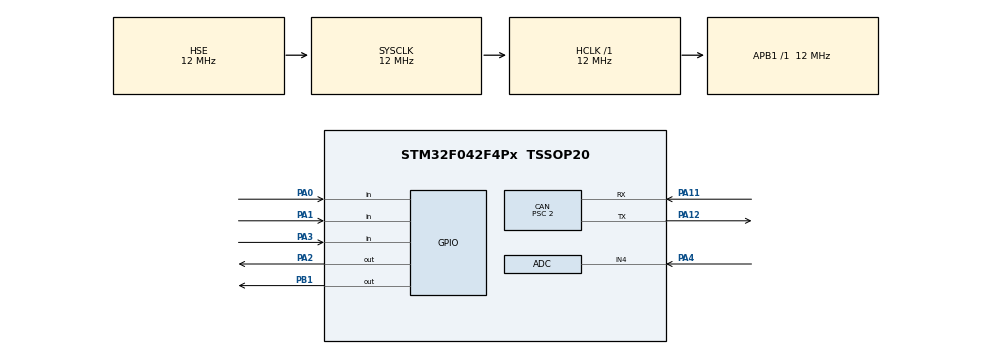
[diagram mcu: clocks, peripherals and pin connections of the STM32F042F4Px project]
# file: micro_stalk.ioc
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CAN.BS1=CAN_BS1_10TQ
CAN.CalculateBaudRate=500000
CAN.CalculateTimeBit=2000
CAN.CalculateTimeQuantum=166.66666666666666
CAN.NART=ENABLE
CAN.Prescaler=2
Mcu.Family=STM32F0
Mcu.Name=STM32F042F4Px
Mcu.Package=TSSOP20
NVIC.CEC_CAN_IRQn=true\:0\:0\:false\:false\:true\:true\:true\:true
PA0.Signal=GPIO_Input
PA1.Signal=GPIO_Input
PA11.Mode=CAN_Activate
PA11.Signal=CAN_RX
PA12.Mode=CAN_Activate
PA12.Signal=CAN_TX
PA13.Mode=Serial_Wire
PA13.Signal=SYS_SWDIO
PA14.Mode=Serial_Wire
PA14.Signal=SYS_SWCLK
PA2.Signal=GPIO_Output
PA3.Signal=GPIO_Input
PA4.Mode=IN4
PA4.Signal=ADC_IN4
PB1.Signal=GPIO_Output
PF0-OSC_IN.Mode=HSE-External-Oscillator
PF0-OSC_IN.Signal=RCC_OSC_IN
PF1-OSC_OUT.Mode=HSE-External-Oscillator
PF1-OSC_OUT.Signal=RCC_OSC_OUT
ProjectManager.HeapSize=0x200
ProjectManager.StackSize=0x400
ProjectManager.TargetToolchain=STM32CubeIDE
RCC.AHBFreq_Value=12000000
RCC.APB1Freq_Value=12000000
RCC.APB1TimFreq_Value=12000000
RCC.HCLKFreq_Value=12000000
RCC.HSE_VALUE=12000000
RCC.PLLSourceVirtual=RCC_PLLSOURCE_HSE
RCC.SYSCLKFreq_VALUE=12000000
RCC.SYSCLKSource=RCC_SYSCLKSOURCE_HSE
VP_SYS_VS_PINREMAP.Mode=PINREMAP
board=custom

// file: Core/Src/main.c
/* USER CODE BEGIN Header */
/**
  ******************************************************************************
  * @file           : main.c
  * @brief          : Main program body
  ******************************************************************************
  * @attention
  *
  * Copyright (c) 2022 STMicroelectronics.
  * All rights reserved.
  *
  * This software is licensed under terms that can be found in the LICENSE file
  * in the root directory of this software component.
  * If no LICENSE file comes with this software, it is provided AS-IS.
  *
  ******************************************************************************
  */
/* USER CODE END Header */
#include "main.h"

/* USER CODE BEGIN PTD */
#define ENABLE_CAN_TRANSCEIVER() HAL_GPIO_WritePin(GPIOB, GPIO_PIN_1, GPIO_PIN_RESET)
#define LED_OFF() HAL_GPIO_WritePin(GPIOA, GPIO_PIN_2, GPIO_PIN_RESET)
#define LED_ON() HAL_GPIO_WritePin(GPIOA, GPIO_PIN_2, GPIO_PIN_SET)

#define SET_ERROR(n) errors |= 1UL << n;
#define CLEAR_ERROR(n) errors &= ~(1UL << n);

#define ABS(x) ((x) > 0 ? (x) : -(x))
/* USER CODE END PTD */

 ADC_HandleTypeDef hadc;

CAN_HandleTypeDef hcan;

void SystemClock_Config(void);
static void MX_GPIO_Init(void);
static void MX_CAN_Init(void);
static void MX_ADC_Init(void);
/* USER CODE BEGIN PFP */
uint32_t sendCAN(uint16_t id, uint8_t buffer[], uint8_t len);
void processCAN(CAN_HandleTypeDef *hcan, uint32_t mailbox);
int getChecksum(uint8_t *msg, uint8_t len, uint16_t addr);
void attachChecksum(uint16_t id, uint8_t len, uint8_t *msg);
/* USER CODE END PFP */

/* USER CODE BEGIN 0 */
CAN_FilterTypeDef     canfil;
CAN_TxHeaderTypeDef   txHeader;
CAN_RxHeaderTypeDef   rxHeader;
uint8_t               rxBuffer[8];
uint32_t              txMailbox;

uint8_t cruiseOn = 0;
uint16_t setSpeed = 50, lastSpeed = 0, currentSpeed = 0;

uint8_t errors = 0;
uint8_t ignition = 0;
uint32_t lastSeen = 0;

uint8_t bigHopped = 0;
uint32_t lastPressed = 0;
uint8_t modePressed = 0;
uint8_t lastState = 0;
uint8_t stateChanged = 0;
uint8_t controlsPressed[4] = {0x00, 0x00, 0x00, 0x00}; // speedDown, speedUp, distanceDown, distanceUp
uint32_t controlsPressedTime[4] = {0, 0, 0, 0};
uint8_t signalLights[2] = {0x00, 0x00}; // left,

uint8_t PCM_CRUISE_MSG[8] = {0x0, 0x0, 0x0, 0x0, 0x0, 0x0, 0x0, 0x0};
uint8_t PCM_CRUISE_2_MSG[8] = {0x0, 0x0, 0x0, 0x0, 0x0, 0x0, 0x0, 0x0};

/* USER CODE END 0 */

int main(void)
{

  /* MCU Configuration--------------------------------------------------------*/

  /* Reset of all peripherals, Initializes the Flash interface and the Systick. */
  HAL_Init();

  /* Configure the system clock */
  SystemClock_Config();

  /* Initialize all configured peripherals */
  MX_GPIO_Init();
  MX_CAN_Init();
  MX_ADC_Init();
  /* USER CODE BEGIN 2 */
  ENABLE_CAN_TRANSCEIVER();
  LED_OFF();
  if (HAL_CAN_Start(&hcan) != HAL_OK) {
	  LED_ON();
  }
  HAL_CAN_ActivateNotification(&hcan, CAN_IT_RX_FIFO0_MSG_PENDING);
  HAL_CAN_ActivateNotification(&hcan, CAN_IT_RX_FIFO1_MSG_PENDING);

  /* USER CODE END 2 */

  /* Infinite loop */
  /* USER CODE BEGIN WHILE */
  while (1) {
	  if (HAL_GetTick() - lastSeen > 500) {
		  ignition = 0;
	  }

	  if (ignition == 1) {
		  LED_ON();
		  HAL_ADC_Start(&hadc);
		  HAL_ADC_PollForConversion(&hadc, 1);
		  uint32_t mediaButton = HAL_ADC_GetValue(&hadc);
		  if (mediaButton >= 3600 && mediaButton <= 4500) { // increase speed
			  if (controlsPressed[0] == 0) {
				  // rising edge
				  controlsPressedTime[0] = HAL_GetTick();
				  controlsPressed[0] = 1;
				  if (cruiseOn == 0) {
					  cruiseOn = 1;
					  setSpeed = lastSpeed;
				  }
			  } else {
				  if (HAL_GetTick() - controlsPressedTime[0] >= 250) {
					  controlsPressedTime[0] = HAL_GetTick();
					  if (cruiseOn == 1) {
						  setSpeed += 5;
						  bigHopped = 1;
					  }
				  }
			  }
		  } else if (mediaButton >= 2600 && mediaButton <= 3500) { // decrease speed
			  if (controlsPressed[1] == 0) {
				  // rising edge
				  controlsPressedTime[1] = HAL_GetTick();
				  controlsPressed[1] = 1;
			  } else {
				  if (HAL_GetTick() - controlsPressedTime[1] >= 250) {
					  controlsPressedTime[1] = HAL_GetTick();
					  if (cruiseOn == 0) {

					  } else {
						  setSpeed -= 5;
						  bigHopped = 1;
					  }
				  }
			  }
		  } else if (mediaButton >= 1600 && mediaButton <= 2500) { // increase follow distance

		  } else if (mediaButton >= 600 && mediaButton <= 1500) { // decrease follow distance

		  } else {
			  // detect falling edge
			  for (uint8_t i = 0; i < 4; i++) {
				  if (controlsPressed[i] == 1) {
					  if (bigHopped == 0) {
						  if (i == 0) {
							  setSpeed += 1;
						  } else if (i == 1) {
							  setSpeed -= 1;
						  } else if (i == 2) {

						  } else if (i == 3) {

						  }
					  } else {
						  bigHopped = 0;
					  }
					  controlsPressed[i] = 0;
					  controlsPressedTime[i] = 0;
				  }
			  }
		  }

		  // Signal light is on if GPIO is low, it's normally high.
		  signalLights[0] = (HAL_GPIO_ReadPin(GPIOA, GPIO_PIN_0)) ? 0x00 : 0xFF;
		  signalLights[1] = (HAL_GPIO_ReadPin(GPIOA, GPIO_PIN_1)) ? 0x00 : 0xFF;
		  sendCAN(0x614, signalLights, 2);

		  uint8_t modeButton = HAL_GPIO_ReadPin(GPIOA, GPIO_PIN_3);
		  if (modeButton == SET) {
			  if (lastState != modeButton) {
				  if (stateChanged == 0) {
					  if (cruiseOn == 0) {
						  cruiseOn = 1;
					  } else {
//						  setSpeed = currentSpeed;
						  cruiseOn = 0;
					  }
				  }
				  stateChanged = 1;
			  } else {
				  stateChanged = 0;
			  }
		  }
		  lastState = modeButton;

		  //0x1d2 msg PCM_CRUISE
		  PCM_CRUISE_MSG[0] = (cruiseOn << 5) & 0x20;
		  PCM_CRUISE_MSG[5] = (cruiseOn << 7) & 0x80;
		  attachChecksum(0x1D2, 8, PCM_CRUISE_MSG);
		  sendCAN(0x1D2, PCM_CRUISE_MSG, 8);
		  //0x1d3 msg PCM_CRUISE_2
		  PCM_CRUISE_2_MSG[1] = ((0x001 << 7) & 0x80) | 0x28;
		  PCM_CRUISE_2_MSG[2] = setSpeed;
		  attachChecksum(0x1D3, 8, PCM_CRUISE_2_MSG);
		  sendCAN(0x1D3, PCM_CRUISE_2_MSG, 8);

		  HAL_Delay(50);
	  } else {
		  LED_OFF();
		  setSpeed = 50;
		  cruiseOn = 0;
		  HAL_Delay(500);
	  }
    /* USER CODE END WHILE */

  }
}

void SystemClock_Config(void)
{
  RCC_OscInitTypeDef RCC_OscInitStruct = {0};
  RCC_ClkInitTypeDef RCC_ClkInitStruct = {0};

  /** Initializes the RCC Oscillators according to the specified parameters
  * in the RCC_OscInitTypeDef structure.
  */
  RCC_OscInitStruct.OscillatorType = RCC_OSCILLATORTYPE_HSI14|RCC_OSCILLATORTYPE_HSE;
  RCC_OscInitStruct.HSEState = RCC_HSE_ON;
  RCC_OscInitStruct.HSI14State = RCC_HSI14_ON;
  RCC_OscInitStruct.HSI14CalibrationValue = 16;
  RCC_OscInitStruct.PLL.PLLState = RCC_PLL_NONE;
  if (HAL_RCC_OscConfig(&RCC_OscInitStruct) != HAL_OK)
  {
    Error_Handler();
  }

  /** Initializes the CPU, AHB and APB buses clocks
  */
  RCC_ClkInitStruct.ClockType = RCC_CLOCKTYPE_HCLK|RCC_CLOCKTYPE_SYSCLK
                              |RCC_CLOCKTYPE_PCLK1;
  RCC_ClkInitStruct.SYSCLKSource = RCC_SYSCLKSOURCE_HSE;
  RCC_ClkInitStruct.AHBCLKDivider = RCC_SYSCLK_DIV1;
  RCC_ClkInitStruct.APB1CLKDivider = RCC_HCLK_DIV1;

  if (HAL_RCC_ClockConfig(&RCC_ClkInitStruct, FLASH_LATENCY_0) != HAL_OK)
  {
    Error_Handler();
  }
}

static void MX_ADC_Init(void)
{

  ADC_ChannelConfTypeDef sConfig = {0};

  /** Configure the global features of the ADC (Clock, Resolution, Data Alignment and number of conversion)
  */
  hadc.Instance = ADC1;
  hadc.Init.ClockPrescaler = ADC_CLOCK_ASYNC_DIV1;
  hadc.Init.Resolution = ADC_RESOLUTION_12B;
  hadc.Init.DataAlign = ADC_DATAALIGN_RIGHT;
  hadc.Init.ScanConvMode = ADC_SCAN_DIRECTION_FORWARD;
  hadc.Init.EOCSelection = ADC_EOC_SINGLE_CONV;
  hadc.Init.LowPowerAutoWait = DISABLE;
  hadc.Init.LowPowerAutoPowerOff = DISABLE;
  hadc.Init.ContinuousConvMode = DISABLE;
  hadc.Init.DiscontinuousConvMode = DISABLE;
  hadc.Init.ExternalTrigConv = ADC_SOFTWARE_START;
  hadc.Init.ExternalTrigConvEdge = ADC_EXTERNALTRIGCONVEDGE_NONE;
  hadc.Init.DMAContinuousRequests = DISABLE;
  hadc.Init.Overrun = ADC_OVR_DATA_PRESERVED;
  if (HAL_ADC_Init(&hadc) != HAL_OK)
  {
    Error_Handler();
  }

  /** Configure for the selected ADC regular channel to be converted.
  */
  sConfig.Channel = ADC_CHANNEL_4;
  sConfig.Rank = ADC_RANK_CHANNEL_NUMBER;
  sConfig.SamplingTime = ADC_SAMPLETIME_1CYCLE_5;
  if (HAL_ADC_ConfigChannel(&hadc, &sConfig) != HAL_OK)
  {
    Error_Handler();
  }

}

static void MX_CAN_Init(void)
{

  hcan.Instance = CAN;
  hcan.Init.Prescaler = 2;
  hcan.Init.Mode = CAN_MODE_NORMAL;
  hcan.Init.SyncJumpWidth = CAN_SJW_1TQ;
  hcan.Init.TimeSeg1 = CAN_BS1_10TQ;
  hcan.Init.TimeSeg2 = CAN_BS2_1TQ;
  hcan.Init.TimeTriggeredMode = DISABLE;
  hcan.Init.AutoBusOff = DISABLE;
  hcan.Init.AutoWakeUp = DISABLE;
  hcan.Init.AutoRetransmission = ENABLE;
  hcan.Init.ReceiveFifoLocked = DISABLE;
  hcan.Init.TransmitFifoPriority = DISABLE;
  if (HAL_CAN_Init(&hcan) != HAL_OK)
  {
    Error_Handler();
  }
  /* USER CODE BEGIN CAN_Init 2 */
  canfil.FilterMode = CAN_FILTERMODE_IDLIST;
  canfil.FilterScale = CAN_FILTERSCALE_16BIT;
  canfil.FilterIdHigh = 0x001 << 5;
  canfil.FilterIdLow =  0x002 << 5;
  canfil.FilterMaskIdHigh = 0x001 << 5;
  canfil.FilterMaskIdLow = 0x001 << 5;
  canfil.FilterFIFOAssignment = 0;
  canfil.FilterActivation = ENABLE;
  HAL_CAN_ConfigFilter(&hcan, &canfil);
  /* USER CODE END CAN_Init 2 */

}

static void MX_GPIO_Init(void)
{
  GPIO_InitTypeDef GPIO_InitStruct = {0};

  /* GPIO Ports Clock Enable */
  __HAL_RCC_GPIOF_CLK_ENABLE();
  __HAL_RCC_GPIOA_CLK_ENABLE();
  __HAL_RCC_GPIOB_CLK_ENABLE();

  /*Configure GPIO pin Output Level */
  HAL_GPIO_WritePin(GPIOA, GPIO_PIN_2, GPIO_PIN_RESET);

  /*Configure GPIO pin Output Level */
  HAL_GPIO_WritePin(GPIOB, GPIO_PIN_1, GPIO_PIN_RESET);

  /*Configure GPIO pins : PA0 PA1 PA3 */
  GPIO_InitStruct.Pin = GPIO_PIN_0|GPIO_PIN_1|GPIO_PIN_3;
  GPIO_InitStruct.Mode = GPIO_MODE_INPUT;
  GPIO_InitStruct.Pull = GPIO_NOPULL;
  HAL_GPIO_Init(GPIOA, &GPIO_InitStruct);

  /*Configure GPIO pin : PA2 */
  GPIO_InitStruct.Pin = GPIO_PIN_2;
  GPIO_InitStruct.Mode = GPIO_MODE_OUTPUT_PP;
  GPIO_InitStruct.Pull = GPIO_NOPULL;
  GPIO_InitStruct.Speed = GPIO_SPEED_FREQ_LOW;
  HAL_GPIO_Init(GPIOA, &GPIO_InitStruct);

  /*Configure GPIO pin : PB1 */
  GPIO_InitStruct.Pin = GPIO_PIN_1;
  GPIO_InitStruct.Mode = GPIO_MODE_OUTPUT_PP;
  GPIO_InitStruct.Pull = GPIO_NOPULL;
  GPIO_InitStruct.Speed = GPIO_SPEED_FREQ_LOW;
  HAL_GPIO_Init(GPIOB, &GPIO_InitStruct);

}

/* USER CODE BEGIN 4 */
uint32_t sendCAN(uint16_t id, uint8_t buffer[], uint8_t len) {
	CAN_TxHeaderTypeDef header;

	header.IDE = CAN_ID_STD;
	header.RTR = CAN_RTR_DATA;
	header.TransmitGlobalTime = DISABLE;
	header.DLC = len;
	header.StdId = id;

	uint32_t mailbox;

	if (HAL_CAN_GetTxMailboxesFreeLevel(&hcan) > 0) {
		uint8_t res = HAL_CAN_AddTxMessage(&hcan, &header, buffer, &mailbox);
		if (res != HAL_OK) {
			SET_ERROR(0);
		} else {
			CLEAR_ERROR(0);
		}
	} else {
		if (HAL_CAN_IsTxMessagePending(&hcan, txMailbox)) {
			SET_ERROR(1);
		}
	}

	return mailbox;
}

void HAL_CAN_RxFifo0MsgPendingCallback(CAN_HandleTypeDef *hcan) {
	processCAN(hcan, CAN_RX_FIFO0);
}

void HAL_CAN_RxFifo1MsgPendingCallback(CAN_HandleTypeDef *hcan) {
	processCAN(hcan, CAN_RX_FIFO1);
}

void processCAN(CAN_HandleTypeDef *hcan, uint32_t mailbox) {
	CAN_RxHeaderTypeDef tmp;
	uint8_t data[8];
	HAL_CAN_GetRxMessage(hcan, mailbox, &tmp, data);
	if (tmp.StdId == 0x001) {
		ignition = 1;
		lastSeen = HAL_GetTick();
		currentSpeed = data[0];
		if (cruiseOn == 0) {
			setSpeed = data[0];
		}
	} else if (tmp.StdId == 0x002) {
		lastSpeed = setSpeed;
		cruiseOn = 0;
	}
}

int getChecksum(uint8_t *msg, uint8_t len, uint16_t addr) {
    uint8_t checksum = 0;
    checksum = ((addr & 0xFF00) >> 8) + (addr & 0x00FF) + len + 1;
    for (int ii = 0; ii < len; ii++) {
        checksum += (msg[ii]);
    }
    return checksum;
}

void attachChecksum(uint16_t id, uint8_t len, uint8_t *msg) {
    msg[len -1] = getChecksum(msg, len - 1, id);
}

/* USER CODE END 4 */

void Error_Handler(void)
{
  __disable_irq();
  while (1)
  {
  }
}
